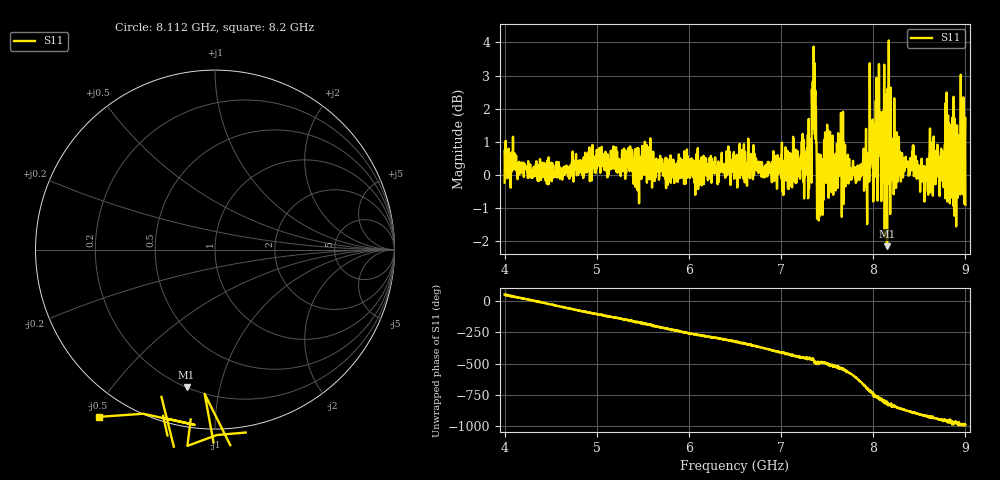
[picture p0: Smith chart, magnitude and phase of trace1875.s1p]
! Created with skrf 1.8.0 (http://scikit-rf.org).
# Hz S RI R 50.0
!freq ReS11 ImS11
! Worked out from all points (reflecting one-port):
!   1601 points, 4 GHz to 9 GHz, reference 50 ohm
!   lowest |S11| = -2.1 dB at 8.15 GHz (marker M1), VSWR 8.15, Z = 10.1 - j39.7 ohm
!   phase of S11 starts at 52 deg and turns -1041 deg over the sweep
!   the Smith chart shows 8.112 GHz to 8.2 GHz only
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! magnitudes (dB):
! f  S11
! 4 GHz  -0.2
! 4.1 GHz  0.3
! 4.625 GHz  -0.1
! 5.25 GHz  0.1
! 5.875 GHz  -0.1
! 6.5 GHz  0.3
! 7.125 GHz  0.6
! 7.306 GHz  0.7
! 7.359 GHz  2.1
! 7.412 GHz  0.1
! 7.512 GHz  1.3
! 7.569 GHz  0.1
! 7.669 GHz  0.8
! 7.75 GHz  0.1
! 7.934 GHz  -1.5
! 8.053 GHz  0.5
! 8.15 GHz  -2.1
! 8.178 GHz  2.4
! 8.197 GHz  0.0
! 8.375 GHz  0.4
! 8.581 GHz  -0.1
! 8.631 GHz  0.1
! 8.744 GHz  0.1
! 8.797 GHz  2.5
! 8.844 GHz  -0.6
! 8.919 GHz  0.1
! 8.972 GHz  0.6
! 9 GHz  -0.9
